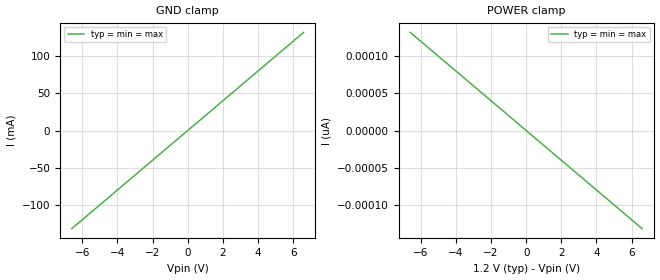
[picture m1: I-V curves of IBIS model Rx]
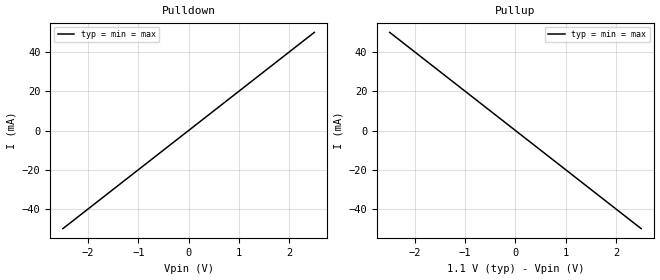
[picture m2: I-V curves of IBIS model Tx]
[IBIS Ver]   5.1
[File name]   pcieg5_16gt.ibs
[File rev]   1.00
[Date]   Jan 1, 2017
[Source]   BPro (http://www.spisim.com)
[Copyright]   Copyright 2017 ~, SPISim LLC. All right reserved.
[Component]   Spec_Model
[Manufacturer]  SPISim LLC
[Package]
|   typ   min   max
R_pkg   0.0   0.0   0.0
L_pkg   0.0   0.0   0.0
C_pkg   0.0   0.0   0.0
[PIN]   signal_name   model_name   R_pin   L_pin   C_pin
1p   TxP   Tx   NA   NA   NA
1n   TxN   Tx   NA   NA   NA
2p   RxP   Rx   NA   NA   NA
2n   RxN   Rx   NA   NA   NA
[Diff Pin] inv_pin  vdiff  tdelay_typ  tdelay_min  tdelay_max
1p   1n   0.1V   NA   NA   NA
2p   2n   0.1V   NA   NA   NA
| Models and submodels in the file (2): Rx (Input), Tx (Output)
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[Model]   Rx
Model_type  Input
C_comp 0.00p 0.00p 0.00p
Vinh = 0.55
Vinl = 0.45
[Temperature_Range]  25   100   0
[Voltage Range]   1.2   1.14  1.26
| The IV table below is equivalent to 50 ohms single-ended load
[GND Clamp]
-6.6V     -132mA     -132mA     -132mA
0V        0A         0A         0A
6.6V      132mA      132mA      132mA
[Power Clamp]
-6.6V     132pA      132pA      132pA
0V        0A         0A         0A
6.6V      -132pA     -132pA     -132pA
[Algorithmic Model]
Executable Windows_VisualStudio_32 pcieg5_16gt_WIN32.dll pcieg5_16gt.ami
Executable Windows_VisualStudio_64 pcieg5_16gt_WIN64.dll pcieg5_16gt.ami
Executable Linux_gcc_64   pcieg5_16gt_LX64.so   pcieg5_16gt.ami
[End Algorithmic Model]
[Model]   Tx
Model_type   Output
Polarity   Non-Inverting
Enable   Active-High
Vmeas =   0.55
|   typ   min   max
C_comp   0   0   0
[Voltage Range]   1.1   1.0   1.2
[Temperature Range]   60   100   0
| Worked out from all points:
|   slope of the pulldown table from 0 to 0.165 V, typ, clamps not added: 50 ohm
|   slope of the pullup table from 0 to 0.165 V, typ, clamps not added: 50 ohm
[Pulldown]
-2.5V     -50mA      -50mA      -50mA
0V        0A         0A         0A
2.5V      50mA       50mA       50mA
[Pullup]
-2.5V     50mA       50mA       50mA
0V        0A         0A         0A
2.5V      -50mA      -50mA      -50mA
[Ramp]
dV/dt_r 0.2796/15p   0.2610/23.5p   0.2976/13p
dV/dt_f 0.2796/15p   0.2610/23.5p   0.2976/13p
[Algorithmic Model]
Executable Windows_VisualStudio_32 pcieg5_16gt_WIN32.dll pcieg5_16gt.ami
Executable Windows_VisualStudio_64 pcieg5_16gt_WIN64.dll pcieg5_16gt.ami
Executable Linux_gcc_64   pcieg5_16gt_LX64.so   pcieg5_16gt.ami
[End Algorithmic Model]
